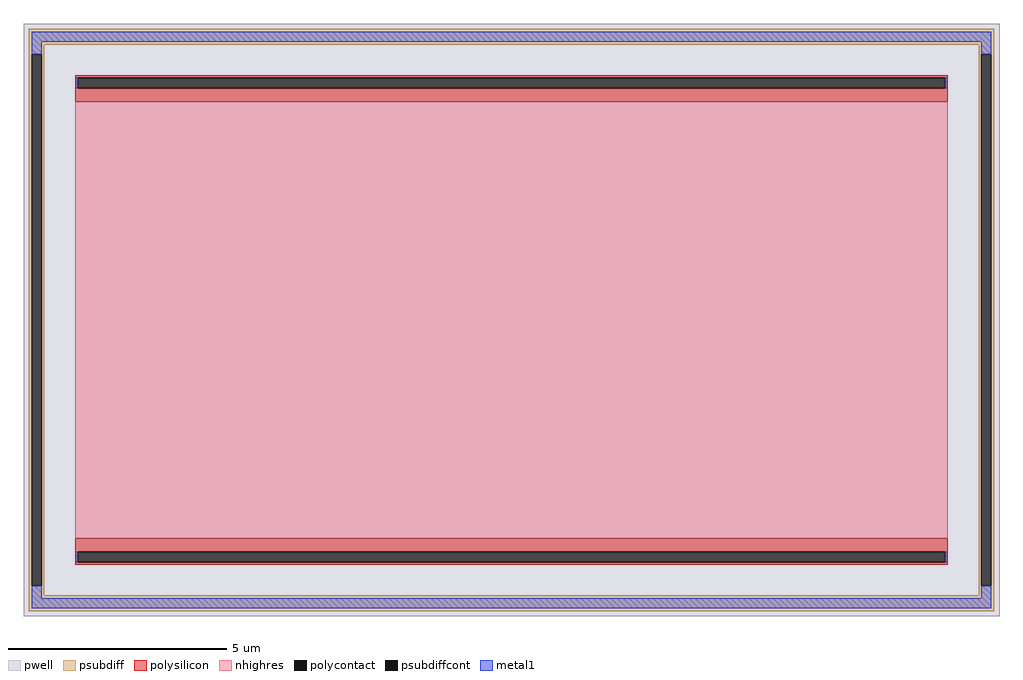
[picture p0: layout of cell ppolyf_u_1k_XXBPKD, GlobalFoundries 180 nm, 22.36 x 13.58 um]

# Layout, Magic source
magic
tech gf180mcuD
magscale 1 10
<< pwell >>
rect -2236 -1358 2236 1358
<< psubdiff >>
rect -2212 1262 2212 1334
rect -2212 1218 -2140 1262
rect -2212 -1218 -2199 1218
rect -2153 -1218 -2140 1218
rect 2140 1218 2212 1262
rect -2212 -1262 -2140 -1218
rect 2140 -1218 2153 1218
rect 2199 -1218 2212 1218
rect 2140 -1262 2212 -1218
rect -2212 -1334 2212 -1262
<< psubdiffcont >>
rect -2199 -1218 -2153 1218
rect 2153 -1218 2199 1218
<< polysilicon >>
rect -2000 1109 2000 1122
rect -2000 1063 -1987 1109
rect 1987 1063 2000 1109
rect -2000 1000 2000 1063
rect -2000 -1063 2000 -1000
rect -2000 -1109 -1987 -1063
rect 1987 -1109 2000 -1063
rect -2000 -1122 2000 -1109
<< polycontact >>
rect -1987 1063 1987 1109
rect -1987 -1109 1987 -1063
<< nhighres >>
rect -2000 -1000 2000 1000
<< metal1 >>
rect -2199 1275 2199 1321
rect -2199 1218 -2153 1275
rect 2153 1218 2199 1275
rect -1998 1063 -1987 1109
rect 1987 1063 1998 1109
rect -1998 -1109 -1987 -1063
rect 1987 -1109 1998 -1063
rect -2199 -1275 -2153 -1218
rect 2153 -1275 2199 -1218
rect -2199 -1321 2199 -1275
<< properties >>
string FIXED_BBOX -2176 -1298 2176 1298
string gencell ppolyf_u_1k
string library gf180mcu
string parameters w 20.0 l 10.0 m 1 nx 1 wmin 1.000 lmin 1.000 class resistor rho 1000 val 500.0 dummy 0 dw 0.0 term 0.0 sterm 0.0 caplen 0.4 snake 0 glc 1 grc 1 gtc 0 gbc 0 roverlap 0 endcov 100 full_metal 1 compatible {ppolyf_u_1k ppolyf_u_1k_6p0}
<< end >>
